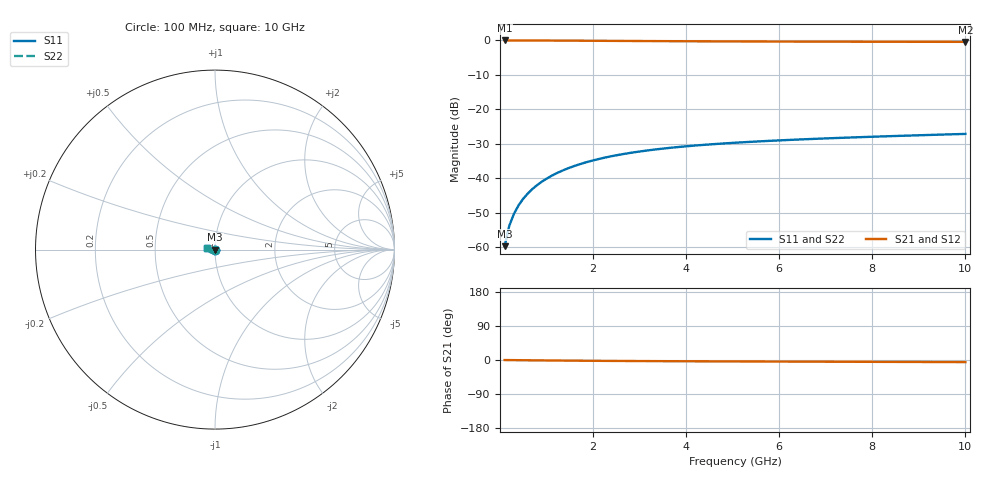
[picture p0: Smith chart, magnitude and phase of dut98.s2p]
! Touchstone file exported from HFSS 2024.1.0
!  File:  C:/UserFiles/LocalFiles/RDL_TSV_Batchsim/temp_TSV1_98_1779376685.aedt
!  Generated:  11:25:29 PM May 21, 2026
!  Design:  TSV1
!  Project:  temp_TSV1_98_1779376685
!  Setup:  Setup1
!  Solution:  Sweep
! Variables:
!  dtsv = 8.02um
!  hbump = 3um
!  htsv = 86.84um
!  lrdl = 252.1521522um
!  p = 40
!  p1 = 49.14um
!  t = 500um
!  trdl = 3um
!  wrdl = 24.89489489um
# GHz S MA R 50.000000
! Terminal data exported
! Port[1] = TSV22_T1
! Port[2] = TSV22_T2
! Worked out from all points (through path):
!   100 points, 100 MHz to 10 GHz, reference 50 ohm
!   highest |S21| = 0.00 dB at 100 MHz (marker M1); lowest = -0.4 dB at 10 GHz (marker M2)
!   lowest |S11| = -59.7 dB at 100 MHz (marker M3), VSWR 1.00, Z = 50 - j0.101 ohm
!   |S11| at or under -10 dB: start of sweep to end of sweep
!   |S22| runs from -59.7 to -27.1 dB; largest |S21 - S12| = 9.3e-15
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0.1  0.001029 -78.6  0.9997 -0.1  0.9997 -0.1  0.001029 -78.6
! Gamma 0 0 0 0
! Port Impedance 50 0 50 0
0.2  0.002028 -86.8  0.9996 -0.2  0.9996 -0.2  0.002028 -86.8
0.3  0.003033 -90.9  0.9994 -0.4  0.9994 -0.4  0.003033 -90.9
0.4  0.004034 -94.0  0.9992 -0.5  0.9992 -0.5  0.004034 -94.0
0.5  0.005028 -96.5  0.9989 -0.6  0.9989 -0.6  0.005028 -96.5
0.6  0.006012 -98.9  0.9985 -0.7  0.9985 -0.7  0.006012 -98.9
0.7  0.006985 -101.0  0.9981 -0.8  0.9981 -0.8  0.006985 -101.0
0.8  0.007946 -103.1  0.9976 -0.9  0.9976 -0.9  0.007946 -103.1
0.9  0.008893 -105.1  0.9971 -1.1  0.9971 -1.1  0.008893 -105.1
1.1  0.01074 -109.0  0.9959 -1.3  0.9959 -1.3  0.01074 -109.0
1.4  0.01338 -114.5  0.9939 -1.6  0.9939 -1.6  0.01338 -114.5
1.6  0.01504 -117.9  0.9924 -1.8  0.9924 -1.8  0.01504 -117.9
1.8  0.01661 -121.3  0.9908 -1.9  0.9908 -1.9  0.01661 -121.3
2.1  0.01882 -126.1  0.9883 -2.2  0.9883 -2.2  0.01882 -126.1
2.5  0.02148 -132.1  0.985 -2.5  0.985 -2.5  0.02148 -132.1
2.9  0.02384 -137.6  0.9817 -2.7  0.9817 -2.7  0.02384 -137.7
3.4  0.02641 -144.0  0.9779 -3.0  0.9779 -3.0  0.02641 -144.0
4.2  0.0298 -153.0  0.9726 -3.4  0.9726 -3.4  0.0298 -153.0
5.1  0.03285 -161.8  0.9677 -3.8  0.9677 -3.8  0.03285 -161.8
6.7  0.03709 -174.6  0.9614 -4.4  0.9614 -4.4  0.03709 -174.6
8.4  0.04077 174.4  0.9569 -5.0  0.9569 -5.0  0.04077 174.4
10  0.04393 165.8  0.954 -5.6  0.954 -5.6  0.04393 165.8
